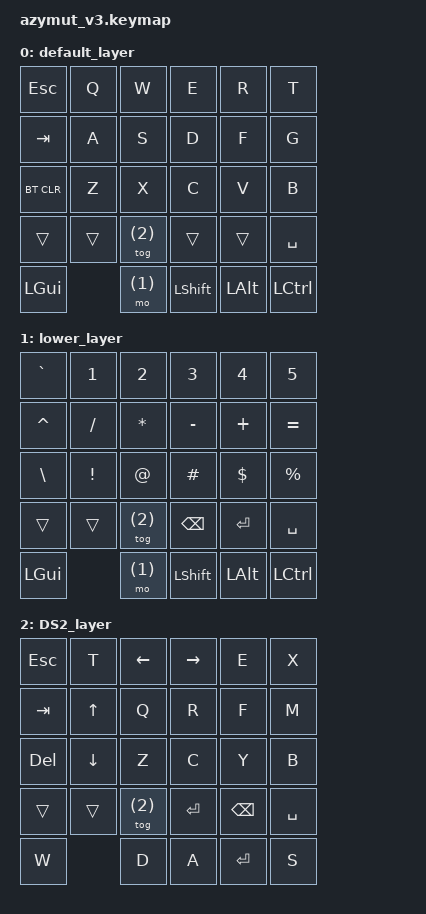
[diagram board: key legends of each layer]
// // This file was generated from a template. Edit it to match your keyboard.
// // See https://zmk.dev/docs/development/hardware-integration/new-shield for more instructions.

// #include <behaviors.dtsi>
// #include <dt-bindings/zmk/keys.h>
// #include <dt-bindings/zmk/pointing.h>
// #include <dt-bindings/zmk/bt.h>

// #include <dt-bindings/zmk/outputs.h>



// //#define HID_IO_USAGE_FWD_TO_JOYSTICK 0
// //s#define HID_IO_USAGE_FWD_TO_MOUSE 1
// / {
     

//     // Define a default keymap here.
//     // See https://zmk.dev/docs/development/hardware-integration/new-shield#default-keymap.
//     combos {
//         compatible = "zmk,combos";
//         combo_bracket {
//             timeout-ms = <50>;
//             key-positions = <2 3>;
//             bindings = <&kp LEFT_BRACKET>;
//             layers = <1>;
//         };
//         combo_paranthesis {
//             timeout-ms = <50>;
//             key-positions = <8 9>;
//             bindings = <&kp LEFT_PARENTHESIS>;
//             layers = <1>;
//         };
//         combo_braces {
//             timeout-ms = <50>;
//             key-positions = <14 15>;
//             bindings = <&kp LEFT_BRACE>;
//             layers = <1>;
//         };
//     };

    
//     keymap {
//         compatible = "zmk,keymap";

//         default_layer {
//             bindings = <
//                 &kp ESC     &kp Q       &kp W       &kp E       &kp R       &kp T                       //&kp Y       &kp U       &kp I       &kp O       &kp P
//                 &kp TAB     &kp A       &kp S       &kp D       &kp F       &kp G                       //&kp H       &kp J       &kp K       &kp L       &msc SCRL_UP
//                 &bt BT_CLR     &kp Z       &kp X       &kp C       &kp V       &kp B                       //&kp N       &kp M       &mkp LCLK   &mkp RCLK   &msc SCRL_DOWN
//                 &trans      &trans      &tog (2)    &trans   &trans    &kp SPACE                 //&kp LCTRL   &kp LALT    &kp LGUI    &kp LSHIFT  &trans
//                 &kp LEFT_GUI            &mo (1)     &kp LSHFT   &kp LALT    &kp LCTRL                 //&kp LEFT_GUI      &kp LALT      &kp LSHFT       &kp LCTRL       &mo (1)
//             >;
//             //  up                      right       left        button       down
//         };

//         lower_layer {
//             bindings = <
//                 &kp GRAVE   &kp N1      &kp N2      &kp N3      &kp N4      &kp N5                      //&kp N6      &kp N7      &kp N8      &kp N9      &kp N0
//                 &kp CARET   &kp FSLH    &kp STAR    &kp MINUS   &kp PLUS    &kp EQUAL                   //&kp DQT     &kp COLON   &kp COMMA   &kp DOT     &kp SEMI
//                 &kp BSLH    &kp EXCL    &kp AT      &kp HASH    &kp DLLR    &kp PRCNT                   //&kp SQT     &kp AMPS    &kp GRAVE   &kp UNDERSCORE &kp QUESTION
//                 &trans      &trans      &tog (2)    &kp BSPC    &kp ENTER   &kp SPACE                 //&kp LCTRL   &kp LALT    &kp LGUI    &kp LSHIFT  &trans
//                 &kp LEFT_GUI            &mo (1)     &kp LSHFT   &kp LALT    &kp LCTRL                 //&kp LEFT_GUI      &kp LALT      &kp LSHFT       &kp LCTRL       &mo (1)
//             >;
//         };

//          DS2_layer {
//             bindings = <
//                 &kp ESC     &kp T       &kp LEFT    &kp RIGHT   &kp E       &kp X                       //&kp Y       &kp U       &kp I       &kp O       &kp P
//                 &kp TAB     &kp UP      &kp Q       &kp R       &kp F       &kp M                       //&kp H       &kp J       &kp K       &kp L       &msc SCRL_UP
//                 &kp DEL     &kp DOWN    &kp Z       &kp C       &kp Y       &kp B                       //&kp N       &kp M       &mkp LCLK   &mkp RCLK   &msc SCRL_DOWN
//                 &trans      &trans      &tog (2)    &kp ENTER   &kp BSPC    &kp SPACE                   //&kp LCTRL   &kp LALT    &kp LGUI    &kp LSHIFT  &trans
//                 &kp W                  &kp D        &kp A       &kp ENTER   &kp S                                //&kp LEFT_GUI      &kp LALT      &kp LSHFT       &kp LCTRL       &mo (1)
//             >;
//         };
//     };
// }; 




















// This file was generated from a template. Edit it to match your keyboard.
// See https://zmk.dev/docs/development/hardware-integration/new-shield for more instructions.

#include <behaviors.dtsi>
#include <dt-bindings/zmk/keys.h>
#include <dt-bindings/zmk/pointing.h>
#include <dt-bindings/zmk/bt.h>

#include <dt-bindings/zmk/outputs.h>


//#define HID_IO_USAGE_FWD_TO_JOYSTICK 0
//s#define HID_IO_USAGE_FWD_TO_MOUSE 1
/ {
        /* Setup input-processor to intecept input and forward to new usage page  */
        zip_fwd_to_hid_joystick: zip_forward_fwd_to_hid_joystick {
                compatible = "zmk,input-processor-fwd-to-hid-joystick";
                #input-processor-cells = <0>;
        };

        /* input listener config for joystick move mode */
	analog_input_il {
		compatible = "zmk,input-listener";
		device = <&anin0>;
                input-processors = <&zip_fwd_to_hid_joystick>;
	};

    //     /* Setup joystick key press behavior and listener */
    //     /* listerer shall forward to JOYSTICK usage page */
    //     jskp: hid_joystick_key_press {
    //             compatible = "zmk,behavior-hid-joystick-key-press";
    //             #binding-cells = <1>;
    //     };
	// jskp_il {
	// 	compatible = "zmk,input-listener";
	// 	device = <&jskp>;
    //             input-processors = <&zip_fwd_to_hid_joystick>;
	// };



    // Define a default keymap here.
    // See https://zmk.dev/docs/development/hardware-integration/new-shield#default-keymap.
    combos {
        compatible = "zmk,combos";
        combo_bracket {
            timeout-ms = <50>;
            key-positions = <2 3>;
            bindings = <&kp LEFT_BRACKET>;
            layers = <1>;
        };
        combo_paranthesis {
            timeout-ms = <50>;
            key-positions = <8 9>;
            bindings = <&kp LEFT_PARENTHESIS>;
            layers = <1>;
        };
        combo_braces {
            timeout-ms = <50>;
            key-positions = <14 15>;
            bindings = <&kp LEFT_BRACE>;
            layers = <1>;
        };
    };

    
    keymap {
        compatible = "zmk,keymap";

        default_layer {
            bindings = <
                &kp ESC     &kp Q       &kp W       &kp E       &kp R       &kp T                       //&kp Y       &kp U       &kp I       &kp O       &kp P
                &kp TAB     &kp A       &kp S       &kp D       &kp F       &kp G                       //&kp H       &kp J       &kp K       &kp L       &msc SCRL_UP
                &bt BT_CLR     &kp Z       &kp X       &kp C       &kp V       &kp B                       //&kp N       &kp M       &mkp LCLK   &mkp RCLK   &msc SCRL_DOWN
                &trans      &trans      &tog (2)    &trans   &trans    &kp SPACE                 //&kp LCTRL   &kp LALT    &kp LGUI    &kp LSHIFT  &trans
                &kp LEFT_GUI            &mo (1)     &kp LSHFT   &kp LALT    &kp LCTRL                 //&kp LEFT_GUI      &kp LALT      &kp LSHFT       &kp LCTRL       &mo (1)
            >;
            //  up                      right       left        button       down
        };

        lower_layer {
            bindings = <
                &kp GRAVE   &kp N1      &kp N2      &kp N3      &kp N4      &kp N5                      //&kp N6      &kp N7      &kp N8      &kp N9      &kp N0
                &kp CARET   &kp FSLH    &kp STAR    &kp MINUS   &kp PLUS    &kp EQUAL                   //&kp DQT     &kp COLON   &kp COMMA   &kp DOT     &kp SEMI
                &kp BSLH    &kp EXCL    &kp AT      &kp HASH    &kp DLLR    &kp PRCNT                   //&kp SQT     &kp AMPS    &kp GRAVE   &kp UNDERSCORE &kp QUESTION
                &trans      &trans      &tog (2)    &kp BSPC    &kp ENTER   &kp SPACE                 //&kp LCTRL   &kp LALT    &kp LGUI    &kp LSHIFT  &trans
                &kp LEFT_GUI            &mo (1)     &kp LSHFT   &kp LALT    &kp LCTRL                 //&kp LEFT_GUI      &kp LALT      &kp LSHFT       &kp LCTRL       &mo (1)
            >;
        };

         DS2_layer {
            bindings = <
                &kp ESC     &kp T       &kp LEFT    &kp RIGHT   &kp E       &kp X                       //&kp Y       &kp U       &kp I       &kp O       &kp P
                &kp TAB     &kp UP      &kp Q       &kp R       &kp F       &kp M                       //&kp H       &kp J       &kp K       &kp L       &msc SCRL_UP
                &kp DEL     &kp DOWN    &kp Z       &kp C       &kp Y       &kp B                       //&kp N       &kp M       &mkp LCLK   &mkp RCLK   &msc SCRL_DOWN
                &trans      &trans      &tog (2)    &kp ENTER   &kp BSPC    &kp SPACE                   //&kp LCTRL   &kp LALT    &kp LGUI    &kp LSHIFT  &trans
                &kp W                  &kp D        &kp A       &kp ENTER   &kp S                                //&kp LEFT_GUI      &kp LALT      &kp LSHFT       &kp LCTRL       &mo (1)
            >;
        };
    };
}; 
